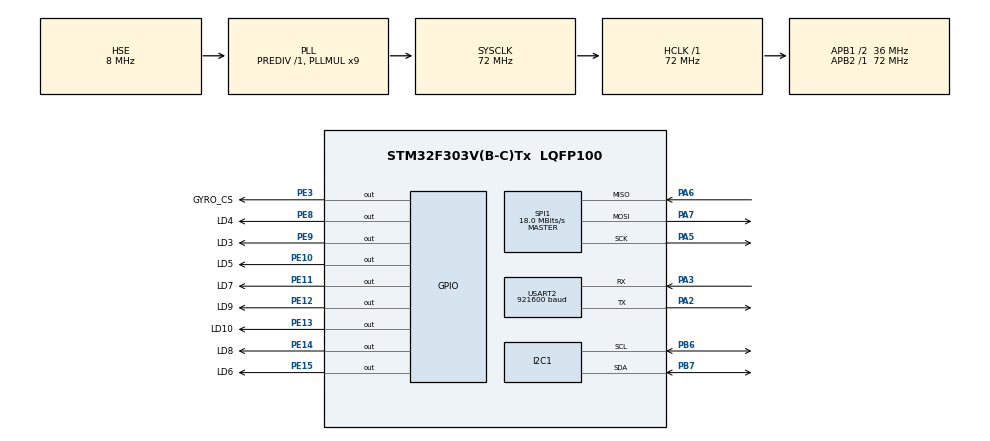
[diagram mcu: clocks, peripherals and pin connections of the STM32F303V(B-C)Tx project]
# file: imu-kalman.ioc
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FREERTOS.Tasks01=defaultTask,0,128,StartDefaultTask,Default,NULL,Dynamic,NULL,NULL
FREERTOS.configUSE_MUTEXES=0
Mcu.Family=STM32F3
Mcu.Name=STM32F303V(B-C)Tx
Mcu.Package=LQFP100
NVIC.PriorityGroup=NVIC_PRIORITYGROUP_4
NVIC.TIM1_UP_TIM16_IRQn=true\:15\:0\:false\:false\:true\:false\:false\:true\:true
NVIC.TimeBase=TIM1_UP_TIM16_IRQn
NVIC.TimeBaseIP=TIM1
PA2.Mode=Asynchronous
PA2.Signal=USART2_TX
PA3.Mode=Asynchronous
PA3.Signal=USART2_RX
PA5.Mode=Full_Duplex_Master
PA5.Signal=SPI1_SCK
PA6.Mode=Full_Duplex_Master
PA6.Signal=SPI1_MISO
PA7.Mode=Full_Duplex_Master
PA7.Signal=SPI1_MOSI
PB6.Mode=I2C
PB6.Signal=I2C1_SCL
PB7.Mode=I2C
PB7.Signal=I2C1_SDA
PE10.GPIO_Label=LD5
PE10.Signal=GPIO_Output
PE11.GPIO_Label=LD7
PE11.Signal=GPIO_Output
PE12.GPIO_Label=LD9
PE12.Signal=GPIO_Output
PE13.GPIO_Label=LD10
PE13.Signal=GPIO_Output
PE14.GPIO_Label=LD8
PE14.Signal=GPIO_Output
PE15.GPIO_Label=LD6
PE15.Signal=GPIO_Output
PE3.GPIO_Label=GYRO_CS
PE3.Signal=GPIO_Output
PE8.GPIO_Label=LD4
PE8.Signal=GPIO_Output
PE9.GPIO_Label=LD3
PE9.Signal=GPIO_Output
PF0-OSC_IN.Mode=HSE-External-Clock-Source
PF0-OSC_IN.Signal=RCC_OSC_IN
ProjectManager.HeapSize=0x200
ProjectManager.StackSize=0x400
ProjectManager.TargetToolchain=Makefile
RCC.AHBFreq_Value=72000000
RCC.APB1CLKDivider=RCC_HCLK_DIV2
RCC.APB1Freq_Value=36000000
RCC.APB1TimFreq_Value=72000000
RCC.APB2Freq_Value=72000000
RCC.APB2TimFreq_Value=72000000
RCC.CortexFreq_Value=72000000
RCC.HCLKFreq_Value=72000000
RCC.HSE_VALUE=8000000
RCC.HSI_VALUE=8000000
RCC.LSE_VALUE=32768
RCC.PLLMUL=RCC_PLL_MUL9
RCC.PLLSourceVirtual=RCC_PLLSOURCE_HSE
RCC.SYSCLKFreq_VALUE=72000000
RCC.SYSCLKSourceVirtual=RCC_SYSCLKSOURCE_PLLCLK
RCC.USBFreq_Value=72000000
SPI1.BaudRatePrescaler=SPI_BAUDRATEPRESCALER_4
SPI1.CLKPhase=SPI_PHASE_2EDGE
SPI1.CLKPolarity=SPI_POLARITY_HIGH
SPI1.CalculateBaudRate=18.0 MBits/s
SPI1.DataSize=SPI_DATASIZE_8BIT
SPI1.Direction=SPI_DIRECTION_2LINES
SPI1.Mode=SPI_MODE_MASTER
SPI1.VirtualType=VM_MASTER
USART2.BaudRate=921600
USART2.VirtualMode-Asynchronous=VM_ASYNC
VP_FREERTOS_VS_CMSIS_V1.Mode=CMSIS_V1
VP_SYS_VS_tim1.Mode=TIM1
board=STM32F3DISCOVERY

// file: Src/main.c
/* USER CODE BEGIN Header */
/**
  ******************************************************************************
  * @file           : main.c
  * @brief          : Main program body
  ******************************************************************************
  * @attention
  *
  * Copyright (c) 2023 STMicroelectronics.
  * All rights reserved.
  *
  * This software is licensed under terms that can be found in the LICENSE file
  * in the root directory of this software component.
  * If no LICENSE file comes with this software, it is provided AS-IS.
  *
  ******************************************************************************
  */
/* USER CODE END Header */
#include "main.h"
#include "cmsis_os.h"

/* USER CODE BEGIN Includes */
#include "console.h"
#include <string.h>
#include <stdio.h>
/* USER CODE END Includes */

I2C_HandleTypeDef hi2c1;

SPI_HandleTypeDef hspi1;

UART_HandleTypeDef huart2;

osThreadId defaultTaskHandle;
/* USER CODE BEGIN PV */
osThreadId blinkyTaskHandle;
osThreadId consoleTaskHandle;
/* USER CODE END PV */

void SystemClock_Config(void);
static void MX_GPIO_Init(void);
static void MX_USART2_UART_Init(void);
static void MX_SPI1_Init(void);
static void MX_I2C1_Init(void);
void StartDefaultTask(void const * argument);

/* USER CODE BEGIN PFP */
void blinkyTask(void const* argument);
void consoleTask(void const* argument);

void Console_Init();
void Console_Write(const char* str);

void GYRO_CS_Low();
void GYRO_CS_High();
uint8_t GYRO_Read(uint8_t address);
void GYRO_Write(uint8_t address, uint8_t value);

uint8_t ACCEL_Read(uint8_t address);
void ACCEL_Write(uint8_t address, uint8_t value);
/* USER CODE END PFP */

/* USER CODE BEGIN 0 */
CONSOLE_COMMAND_DEF(hello, "Say hello!");

CONSOLE_COMMAND_DEF(led, "Sets a LED No",
    CONSOLE_INT_ARG_DEF(led, "The LED 1...7"),
    CONSOLE_INT_ARG_DEF(value, "The value 0-1")
);

CONSOLE_COMMAND_DEF(spi, "Read whoami of L3GD20");

CONSOLE_COMMAND_DEF(i2c, "Read CTRL_REG_1_A of LSM303DLHC");
/* USER CODE END 0 */

int main(void)
{

  /* MCU Configuration--------------------------------------------------------*/

  /* Reset of all peripherals, Initializes the Flash interface and the Systick. */
  HAL_Init();

  /* Configure the system clock */
  SystemClock_Config();

  /* Initialize all configured peripherals */
  MX_GPIO_Init();
  MX_USART2_UART_Init();
  MX_SPI1_Init();
  MX_I2C1_Init();
  /* USER CODE BEGIN 2 */

  Console_Init();
  /* USER CODE END 2 */

  /* Create the thread(s) */
  /* definition and creation of defaultTask */
  osThreadDef(defaultTask, StartDefaultTask, osPriorityNormal, 0, 128);
  defaultTaskHandle = osThreadCreate(osThread(defaultTask), NULL);

  /* USER CODE BEGIN RTOS_THREADS */
  /* add threads, ... */
  osThreadDef(blinky, blinkyTask, osPriorityNormal, 0, 128);
  blinkyTaskHandle = osThreadCreate(osThread(blinky), NULL);

  osThreadDef(console, consoleTask, osPriorityNormal, 0, 128);
  consoleTaskHandle = osThreadCreate(osThread(console), NULL);
  /* USER CODE END RTOS_THREADS */

  /* Start scheduler */
  osKernelStart();
  /* We should never get here as control is now taken by the scheduler */
  /* Infinite loop */
  while (1)
  {

  }
}

void SystemClock_Config(void)
{
  RCC_OscInitTypeDef RCC_OscInitStruct = {0};
  RCC_ClkInitTypeDef RCC_ClkInitStruct = {0};
  RCC_PeriphCLKInitTypeDef PeriphClkInit = {0};

  /** Initializes the RCC Oscillators according to the specified parameters
  * in the RCC_OscInitTypeDef structure.
  */
  RCC_OscInitStruct.OscillatorType = RCC_OSCILLATORTYPE_HSI|RCC_OSCILLATORTYPE_HSE;
  RCC_OscInitStruct.HSEState = RCC_HSE_BYPASS;
  RCC_OscInitStruct.HSEPredivValue = RCC_HSE_PREDIV_DIV1;
  RCC_OscInitStruct.HSIState = RCC_HSI_ON;
  RCC_OscInitStruct.HSICalibrationValue = RCC_HSICALIBRATION_DEFAULT;
  RCC_OscInitStruct.PLL.PLLState = RCC_PLL_ON;
  RCC_OscInitStruct.PLL.PLLSource = RCC_PLLSOURCE_HSE;
  RCC_OscInitStruct.PLL.PLLMUL = RCC_PLL_MUL9;
  if (HAL_RCC_OscConfig(&RCC_OscInitStruct) != HAL_OK)
  {
    Error_Handler();
  }

  /** Initializes the CPU, AHB and APB buses clocks
  */
  RCC_ClkInitStruct.ClockType = RCC_CLOCKTYPE_HCLK|RCC_CLOCKTYPE_SYSCLK
                              |RCC_CLOCKTYPE_PCLK1|RCC_CLOCKTYPE_PCLK2;
  RCC_ClkInitStruct.SYSCLKSource = RCC_SYSCLKSOURCE_PLLCLK;
  RCC_ClkInitStruct.AHBCLKDivider = RCC_SYSCLK_DIV1;
  RCC_ClkInitStruct.APB1CLKDivider = RCC_HCLK_DIV2;
  RCC_ClkInitStruct.APB2CLKDivider = RCC_HCLK_DIV1;

  if (HAL_RCC_ClockConfig(&RCC_ClkInitStruct, FLASH_LATENCY_2) != HAL_OK)
  {
    Error_Handler();
  }
  PeriphClkInit.PeriphClockSelection = RCC_PERIPHCLK_USART2|RCC_PERIPHCLK_I2C1;
  PeriphClkInit.Usart2ClockSelection = RCC_USART2CLKSOURCE_PCLK1;
  PeriphClkInit.I2c1ClockSelection = RCC_I2C1CLKSOURCE_HSI;
  if (HAL_RCCEx_PeriphCLKConfig(&PeriphClkInit) != HAL_OK)
  {
    Error_Handler();
  }
}

static void MX_I2C1_Init(void)
{

  hi2c1.Instance = I2C1;
  hi2c1.Init.Timing = 0x2000090E;
  hi2c1.Init.OwnAddress1 = 0;
  hi2c1.Init.AddressingMode = I2C_ADDRESSINGMODE_7BIT;
  hi2c1.Init.DualAddressMode = I2C_DUALADDRESS_DISABLE;
  hi2c1.Init.OwnAddress2 = 0;
  hi2c1.Init.OwnAddress2Masks = I2C_OA2_NOMASK;
  hi2c1.Init.GeneralCallMode = I2C_GENERALCALL_DISABLE;
  hi2c1.Init.NoStretchMode = I2C_NOSTRETCH_DISABLE;
  if (HAL_I2C_Init(&hi2c1) != HAL_OK)
  {
    Error_Handler();
  }

  /** Configure Analogue filter
  */
  if (HAL_I2CEx_ConfigAnalogFilter(&hi2c1, I2C_ANALOGFILTER_ENABLE) != HAL_OK)
  {
    Error_Handler();
  }

  /** Configure Digital filter
  */
  if (HAL_I2CEx_ConfigDigitalFilter(&hi2c1, 0) != HAL_OK)
  {
    Error_Handler();
  }

}

static void MX_SPI1_Init(void)
{

  /* SPI1 parameter configuration*/
  hspi1.Instance = SPI1;
  hspi1.Init.Mode = SPI_MODE_MASTER;
  hspi1.Init.Direction = SPI_DIRECTION_2LINES;
  hspi1.Init.DataSize = SPI_DATASIZE_8BIT;
  hspi1.Init.CLKPolarity = SPI_POLARITY_HIGH;
  hspi1.Init.CLKPhase = SPI_PHASE_2EDGE;
  hspi1.Init.NSS = SPI_NSS_SOFT;
  hspi1.Init.BaudRatePrescaler = SPI_BAUDRATEPRESCALER_4;
  hspi1.Init.FirstBit = SPI_FIRSTBIT_MSB;
  hspi1.Init.TIMode = SPI_TIMODE_DISABLE;
  hspi1.Init.CRCCalculation = SPI_CRCCALCULATION_DISABLE;
  hspi1.Init.CRCPolynomial = 7;
  hspi1.Init.CRCLength = SPI_CRC_LENGTH_DATASIZE;
  hspi1.Init.NSSPMode = SPI_NSS_PULSE_DISABLE;
  if (HAL_SPI_Init(&hspi1) != HAL_OK)
  {
    Error_Handler();
  }

}

static void MX_USART2_UART_Init(void)
{

  huart2.Instance = USART2;
  huart2.Init.BaudRate = 921600;
  huart2.Init.WordLength = UART_WORDLENGTH_8B;
  huart2.Init.StopBits = UART_STOPBITS_1;
  huart2.Init.Parity = UART_PARITY_NONE;
  huart2.Init.Mode = UART_MODE_TX_RX;
  huart2.Init.HwFlowCtl = UART_HWCONTROL_NONE;
  huart2.Init.OverSampling = UART_OVERSAMPLING_16;
  huart2.Init.OneBitSampling = UART_ONE_BIT_SAMPLE_DISABLE;
  huart2.AdvancedInit.AdvFeatureInit = UART_ADVFEATURE_NO_INIT;
  if (HAL_UART_Init(&huart2) != HAL_OK)
  {
    Error_Handler();
  }

}

static void MX_GPIO_Init(void)
{
  GPIO_InitTypeDef GPIO_InitStruct = {0};

  /* GPIO Ports Clock Enable */
  __HAL_RCC_GPIOE_CLK_ENABLE();
  __HAL_RCC_GPIOF_CLK_ENABLE();
  __HAL_RCC_GPIOA_CLK_ENABLE();
  __HAL_RCC_GPIOB_CLK_ENABLE();

  /*Configure GPIO pin Output Level */
  HAL_GPIO_WritePin(GPIOE, GYRO_CS_Pin|LD4_Pin|LD3_Pin|LD5_Pin
                          |LD7_Pin|LD9_Pin|LD10_Pin|LD8_Pin
                          |LD6_Pin, GPIO_PIN_RESET);

  /*Configure GPIO pins : GYRO_CS_Pin LD4_Pin LD3_Pin LD5_Pin
                           LD7_Pin LD9_Pin LD10_Pin LD8_Pin
                           LD6_Pin */
  GPIO_InitStruct.Pin = GYRO_CS_Pin|LD4_Pin|LD3_Pin|LD5_Pin
                          |LD7_Pin|LD9_Pin|LD10_Pin|LD8_Pin
                          |LD6_Pin;
  GPIO_InitStruct.Mode = GPIO_MODE_OUTPUT_PP;
  GPIO_InitStruct.Pull = GPIO_NOPULL;
  GPIO_InitStruct.Speed = GPIO_SPEED_FREQ_LOW;
  HAL_GPIO_Init(GPIOE, &GPIO_InitStruct);

}

/* USER CODE BEGIN 4 */
void blinkyTask(void const* argument)
{
  for (;;) {
    HAL_GPIO_TogglePin(LD4_GPIO_Port, LD4_Pin);
    osDelay(400);
  }
}

void consoleTask(void const* argument)
{
#define COMMAND_SIZE 100

  static uint8_t command[COMMAND_SIZE];
  static size_t size = 0;

  for (;;) {
      if (HAL_OK == HAL_UART_Receive(&huart2, &command[size], sizeof(command[size]), 1)) {
          size++;
          if ('\n' == command[size - 1] || COMMAND_SIZE == size) {
              console_process(command, size);
              size = 0;
          }
      }
  }
}

void Console_Write(const char* str)
{
  const size_t len = strlen(str);
  HAL_UART_Transmit(&huart2, (const uint8_t*)str, len, HAL_MAX_DELAY);
}

void Console_Init()
{
  const console_init_t init_console = {
      .write_function = Console_Write,
  };

  console_init(&init_console);

  console_command_register(hello);
  console_command_register(led);
  console_command_register(spi);
  console_command_register(i2c);
}

static void hello_command_handler(const hello_args_t* args)
{
    Console_Write("Hello!\n");
}

static void led_command_handler(const led_args_t* args)
{
    const uint8_t led = args->led;
    const uint8_t value = args->value;

    if (led < 1 || led > 7 || value > 1)
    {
        Console_Write("Wrong argument\n");
        return;
    }

    switch(led)
    {
        case 1: HAL_GPIO_WritePin(LD3_GPIO_Port, LD3_Pin, value); break;
        case 2: HAL_GPIO_WritePin(LD5_GPIO_Port, LD5_Pin, value); break;
        case 3: HAL_GPIO_WritePin(LD7_GPIO_Port, LD7_Pin, value); break;
        case 4: HAL_GPIO_WritePin(LD9_GPIO_Port, LD9_Pin, value); break;
        case 5: HAL_GPIO_WritePin(LD10_GPIO_Port, LD10_Pin, value); break;
        case 6: HAL_GPIO_WritePin(LD8_GPIO_Port, LD8_Pin, value); break;
        case 7: HAL_GPIO_WritePin(LD6_GPIO_Port, LD6_Pin, value); break;
        default: break;
    }
}

static void spi_command_handler(const spi_args_t* args)
{
    char str[20];
    const uint8_t whoami = GYRO_Read(0xF);
    snprintf(str, sizeof(str), "whoami=0x%X\n", whoami);
    Console_Write(str);
}

static void i2c_command_handler(const i2c_args_t* args)
{
    char str[20];
    const uint8_t ctrl_reg_1_a = ACCEL_Read(0x20);
    snprintf(str, sizeof(str), "ctrl_reg_1_a=0x%X\n", ctrl_reg_1_a);
    Console_Write(str);
}

void GYRO_CS_Low()
{
    HAL_GPIO_WritePin(GYRO_CS_GPIO_Port, GYRO_CS_Pin, GPIO_PIN_RESET);
}

void GYRO_CS_High()
{
    HAL_GPIO_WritePin(GYRO_CS_GPIO_Port, GYRO_CS_Pin, GPIO_PIN_SET);
}

uint8_t GYRO_Read(uint8_t address)
{
    uint8_t value;
    address |= 0x80; // read bit

    GYRO_CS_Low();
    // TODO: handle error codes
    HAL_SPI_Transmit(&hspi1, &address, sizeof(address), 10);
    HAL_SPI_Receive(&hspi1, &value, sizeof(value), 10);
    GYRO_CS_High();
    return value;
}
/* void GYRO_Write(uint8_t address, uint8_t value); */

uint8_t ACCEL_Read(uint8_t address)
{
    const uint16_t ACCEL_READ_ADDR = 0x33;
    uint8_t value;
    // TODO: handle error codes
    HAL_I2C_Mem_Read(&hi2c1, ACCEL_READ_ADDR, (uint16_t)address, sizeof(address), &value, sizeof(value), 10);
    return value;
}

/* void ACCEL_Write(uint8_t address, uint8_t value); */

/* USER CODE END 4 */

void StartDefaultTask(void const * argument)
{
  for(;;)
  {
    osDelay(1);
  }
}

void HAL_TIM_PeriodElapsedCallback(TIM_HandleTypeDef *htim)
{
  if (htim->Instance == TIM1) {
    HAL_IncTick();
  }
}

void Error_Handler(void)
{
  __disable_irq();
  while (1)
  {
  }
}
